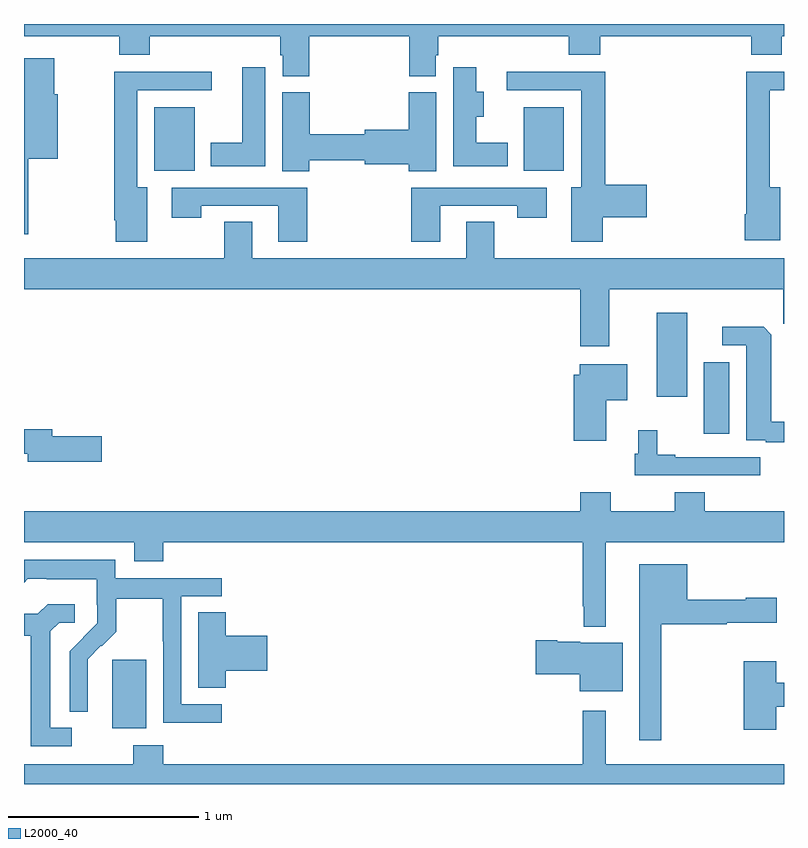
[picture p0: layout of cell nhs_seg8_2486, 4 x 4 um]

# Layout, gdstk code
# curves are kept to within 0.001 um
import gdstk
lib = gdstk.Library(unit=1e-6, precision=1e-09)
def R(c, l, rs):  # rectangles x0, y0, x1, y1
    for r in rs: c.add(gdstk.rectangle(r[:2], r[2:], *l))
def P(c, l, *ps):  # polygons
    for p in ps: c.add(gdstk.Polygon(p, *l))
L2000_40 = (2000, 40)

nhs_seg8_2486 = lib.new_cell('nhs_seg8_2486')
R(nhs_seg8_2486, L2000_40, [(267.464,1110.194,267.643,1110.555), (270.578,1111.743,270.712,1112.119), (270.329,1111.938,270.49,1112.38), (267.686,1113.128,267.898,1113.463), (269.63,1113.128,269.842,1113.463)])
P(nhs_seg8_2486, L2000_40, [(268.502,1113.836),(269.027,1113.836),(269.027,1113.625),(269.167,1113.625),(269.167,1113.735),(269.18,1113.735),(269.18,1113.836),(269.867,1113.836),(269.867,1113.737),(270.032,1113.737),(270.032,1113.836),(270.827,1113.836),(270.827,1113.737),(270.987,1113.737),(270.987,1113.836),(271,1113.836),(271,1113.9),(267,1113.9),(267,1113.836),(267.502,1113.836),(267.502,1113.737),(267.662,1113.737),(267.662,1113.836),(268.349,1113.836),(268.349,1113.735),(268.361,1113.735),(268.361,1113.625),(268.502,1113.625)],
  [(267.023,1113.191),(267.178,1113.191),(267.178,1113.531),(267.16,1113.531),(267.16,1113.721),(267,1113.721),(267,1112.793),(267.023,1112.793)],
  [(268.27,1113.673),(268.148,1113.673),(268.148,1113.274),(267.983,1113.274),(267.983,1113.152),(268.27,1113.152)],
  [(269.545,1113.274),(269.38,1113.274),(269.38,1113.413),(269.419,1113.413),(269.419,1113.543),(269.38,1113.543),(269.38,1113.673),(269.258,1113.673),(269.258,1113.152),(269.545,1113.152)],
  [(270.979,1113.04),(270.925,1113.04),(270.925,1113.552),(271,1113.552),(271,1113.65),(270.8,1113.65),(270.8,1112.898),(270.794,1112.898),(270.794,1112.762),(270.979,1112.762)],
  [(267.649,1113.04),(267.595,1113.04),(267.595,1113.552),(267.988,1113.552),(267.988,1113.65),(267.475,1113.65),(267.475,1112.866),(267.482,1112.866),(267.482,1112.754),(267.649,1112.754)],
  [(270.046,1112.882),(270.277,1112.882),(270.277,1113.053),(270.059,1113.053),(270.059,1113.65),(269.541,1113.65),(269.541,1113.552),(269.933,1113.552),(269.933,1113.04),(269.879,1113.04),(269.879,1112.754),(270.046,1112.754)],
  [(268.5,1113.184),(268.793,1113.184),(268.793,1113.161),(269.024,1113.161),(269.024,1113.124),(269.17,1113.124),(269.17,1113.54),(269.024,1113.54),(269.024,1113.344),(268.793,1113.344),(268.793,1113.32),(268.505,1113.32),(268.505,1113.54),(268.358,1113.54),(268.358,1113.124),(268.5,1113.124)],
  [(269.191,1112.943),(269.596,1112.943),(269.596,1112.88),(269.752,1112.88),(269.752,1113.039),(269.039,1113.039),(269.039,1112.754),(269.191,1112.754)],
  [(268.49,1113.039),(267.777,1113.039),(267.777,1112.88),(267.933,1112.88),(267.933,1112.943),(268.337,1112.943),(268.337,1112.754),(268.49,1112.754)],
  [(269.475,1112.858),(269.327,1112.858),(269.327,1112.668),(268.201,1112.668),(268.201,1112.858),(268.054,1112.858),(268.054,1112.668),(267,1112.668),(267,1112.504),(269.927,1112.504),(269.927,1112.205),(270.079,1112.205),(270.079,1112.504),(270.997,1112.504),(270.997,1112.323),(271,1112.323),(271,1112.668),(269.475,1112.668)],
  [(271,1111.806),(270.934,1111.806),(270.934,1112.264),(270.893,1112.306),(270.675,1112.306),(270.675,1112.208),(270.8,1112.208),(270.8,1111.71),(270.905,1111.71),(270.905,1111.698),(271,1111.698)],
  [(270.064,1111.919),(270.175,1111.919),(270.175,1112.11),(269.924,1112.11),(269.924,1112.055),(269.894,1112.055),(269.894,1111.707),(270.064,1111.707)],
  [(267.409,1111.73),(267.148,1111.73),(267.148,1111.766),(267,1111.766),(267,1111.638),(267.02,1111.638),(267.02,1111.595),(267.409,1111.595)],
  [(270.874,1111.62),(270.427,1111.62),(270.427,1111.633),(270.333,1111.633),(270.333,1111.762),(270.233,1111.762),(270.233,1111.638),(270.214,1111.638),(270.214,1111.524),(270.874,1111.524)],
  [(270.061,1111.172),(271,1111.172),(271,1111.336),(270.584,1111.336),(270.584,1111.435),(270.424,1111.435),(270.424,1111.336),(270.087,1111.336),(270.087,1111.435),(269.927,1111.435),(269.927,1111.336),(267,1111.336),(267,1111.172),(267.581,1111.172),(267.581,1111.073),(267.734,1111.073),(267.734,1111.172),(269.94,1111.172),(269.94,1110.835),(269.947,1110.835),(269.947,1110.728),(270.061,1110.728)],
  [(268.042,1110.321),(267.828,1110.321),(267.828,1110.888),(268.042,1110.888),(268.042,1110.984),(267.48,1110.984),(267.48,1111.081),(267,1111.081),(267,1110.96),(267.021,1110.981),(267.121,1110.981),(267.121,1110.977),(267.384,1110.977),(267.384,1110.843),(267.386,1110.843),(267.386,1110.746),(267.24,1110.598),(267.24,1110.28),(267.336,1110.28),(267.335,1110.557),(267.405,1110.627),(267.408,1110.624),(267.485,1110.701),(267.485,1110.876),(267.73,1110.876),(267.73,1110.652),(267.732,1110.652),(267.732,1110.223),(268.042,1110.223)],
  [(270.353,1110.742),(270.698,1110.742),(270.698,1110.749),(270.961,1110.749),(270.961,1110.879),(270.798,1110.879),(270.798,1110.871),(270.49,1110.871),(270.49,1111.057),(270.239,1111.057),(270.239,1110.129),(270.353,1110.129)],
  [(267.25,1110.195),(267.139,1110.195),(267.139,1110.703),(267.186,1110.75),(267.268,1110.75),(267.268,1110.847),(267.124,1110.847),(267.072,1110.795),(267,1110.795),(267,1110.68),(267.035,1110.68),(267.035,1110.099),(267.25,1110.099)],
  [(268.061,1110.497),(268.279,1110.497),(268.279,1110.68),(268.061,1110.68),(268.061,1110.803),(267.917,1110.803),(267.917,1110.406),(268.061,1110.406)],
  [(270.151,1110.643),(269.928,1110.643),(269.928,1110.649),(269.806,1110.649),(269.806,1110.656),(269.694,1110.656),(269.694,1110.478),(269.924,1110.478),(269.924,1110.389),(270.151,1110.389)],
  [(270.96,1110.306),(271,1110.306),(271,1110.434),(270.96,1110.434),(270.96,1110.547),(270.787,1110.547),(270.787,1110.186),(270.96,1110.186)],
  [(271,1110.004),(270.061,1110.004),(270.061,1110.286),(269.94,1110.286),(269.94,1110.004),(267.734,1110.004),(267.734,1110.103),(267.574,1110.103),(267.574,1110.004),(267,1110.004),(267,1109.9),(271,1109.9)])

lib.write_gds('nhs_seg8_2486.gds')
